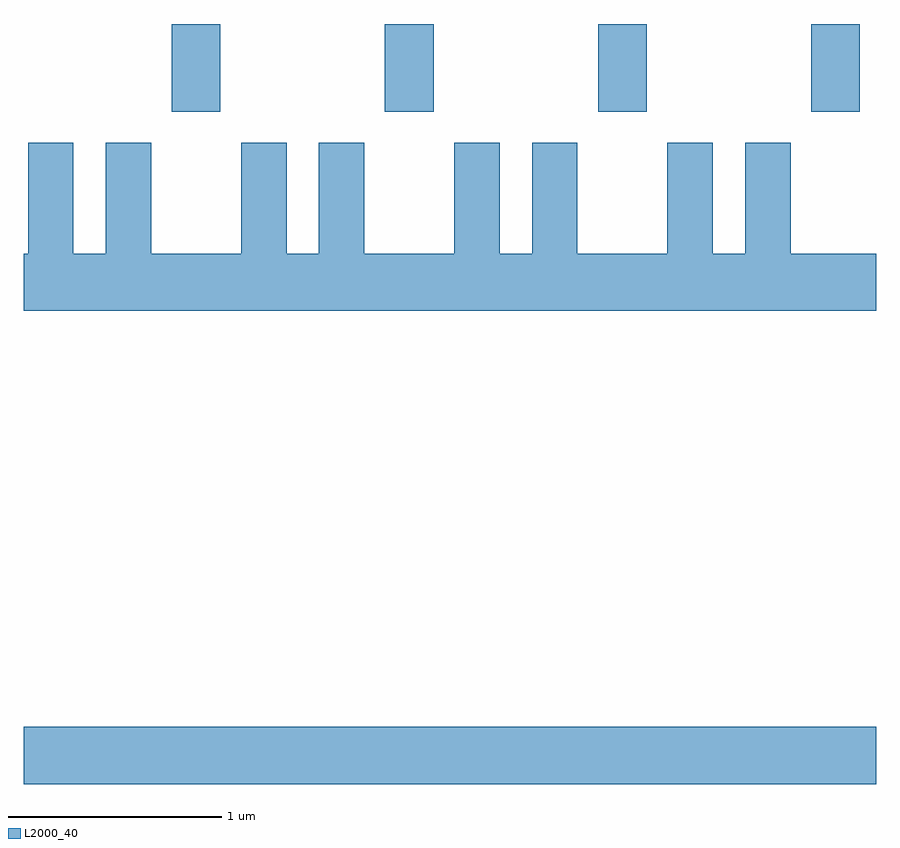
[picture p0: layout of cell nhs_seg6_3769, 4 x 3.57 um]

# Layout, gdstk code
import gdstk
lib = gdstk.Library(unit=1e-6, precision=1e-09)
def R(c, l, rs):  # rectangles x0, y0, x1, y1
    for r in rs: c.add(gdstk.rectangle(r[:2], r[2:], *l))
def A(c, l, x, y, w, h, nx, ny, dx, dy):  # array of equal rectangles
    R(c, l, [(x+i*dx, y+j*dy, x+i*dx+w, y+j*dy+h) for i in range(nx) for j in range(ny)])
def P(c, l, *ps):  # polygons
    for p in ps: c.add(gdstk.Polygon(p, *l))
L2000_40 = (2000, 40)

nhs_seg6_3769 = lib.new_cell('nhs_seg6_3769')
A(nhs_seg6_3769, L2000_40, 298.306, 1659.751, 0.228, 0.411, 4, 1, 1, 0)
R(nhs_seg6_3769, L2000_40, [(297.611,1656.596,301.611,1656.864)])
P(nhs_seg6_3769, L2000_40, [(301.611,1659.084),(301.209,1659.084),(301.209,1659.604),(300.996,1659.604),(300.996,1659.084),(300.844,1659.084),(300.844,1659.604),(300.631,1659.604),(300.631,1659.084),(300.209,1659.084),(300.209,1659.604),(299.996,1659.604),(299.996,1659.084),(299.844,1659.084),(299.844,1659.604),(299.631,1659.604),(299.631,1659.084),(299.209,1659.084),(299.209,1659.604),(298.996,1659.604),(298.996,1659.084),(298.844,1659.084),(298.844,1659.604),(298.631,1659.604),(298.631,1659.084),(298.209,1659.084),(298.209,1659.604),(297.996,1659.604),(297.996,1659.084),(297.844,1659.084),(297.844,1659.604),(297.631,1659.604),(297.631,1659.084),(297.611,1659.084),(297.611,1658.816),(301.611,1658.816)])

lib.write_gds('nhs_seg6_3769.gds')
